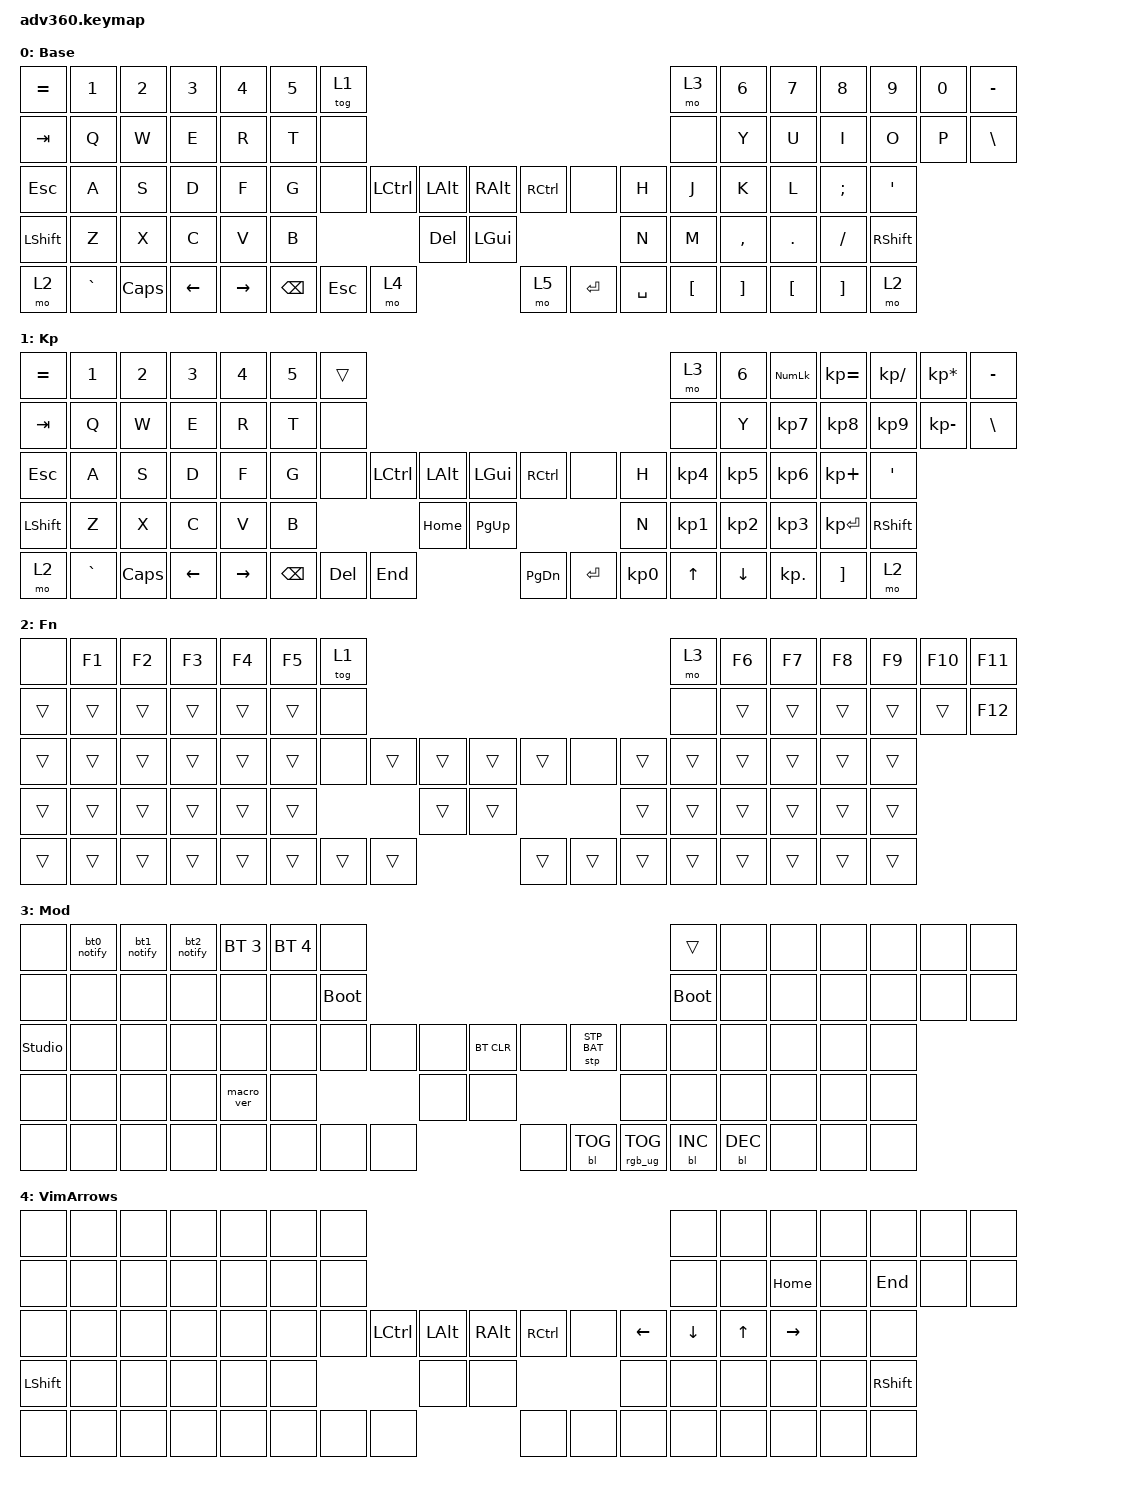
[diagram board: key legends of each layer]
#include <behaviors.dtsi>
#include <dt-bindings/zmk/keys.h>
#include <dt-bindings/zmk/bt.h>
#include <dt-bindings/zmk/rgb.h>
#include <dt-bindings/zmk/stp.h>
#include <dt-bindings/zmk/backlight.h>
#include <dt-bindings/zmk/pointing.h>

/ {
    behaviors {
      #include "macros.dtsi"
      #include "version.dtsi"

      hm: homerow_mods {
          compatible = "zmk,behavior-hold-tap";
          label = "HOMEROW_MODS";
          #binding-cells = <2>;
          tapping-term-ms = <200>;
          quick_tap_ms = <175>;
          flavor = "tap-preferred";
          bindings = <&kp>, <&kp>;
      };

      bt0_notify: bt0_notify {
              compatible = "zmk,behavior-macro";
              #binding-cells = <0>;
              bindings
                  = <&kp F17>
                  , <&bt BT_SEL 0>
                  ;
      };

      bt1_notify: bt1_notify {
              compatible = "zmk,behavior-macro";
              #binding-cells = <0>;
              bindings
                  = <&kp F18>
                  , <&bt BT_SEL 1>
                  ;
      };
      bt2_notify: bt2_notify {
              compatible = "zmk,behavior-macro";
              #binding-cells = <0>;
              bindings
                  = <&kp F19>
                  , <&bt BT_SEL 2>
                  ;
      };
    };

  keymap {
    compatible = "zmk,keymap";

    default_layer {
      display-name = "Base";
      bindings = <
        &kp EQUAL &kp N1    &kp N2   &kp N3   &kp N4     &kp N5 &tog 1                                                                        &mo 3    &kp N6    &kp N7   &kp N8   &kp N9   &kp N0   &kp MINUS
        &kp TAB   &kp Q     &kp W    &kp E    &kp R      &kp T  &none                                                                         &none    &kp Y     &kp U    &kp I    &kp O    &kp P    &kp BSLH
        &kp ESC   &kp A     &kp S    &kp D    &kp F      &kp G  &none           &kp LCTRL &kp LALT &kp RALT  &kp RCTRL           &none &kp H  &kp J    &kp K     &kp L    &kp SEMI &kp SQT
        &kp LSHFT &kp Z     &kp X    &kp C    &kp V      &kp B                            &kp DEL  &kp LGUI                            &kp N  &kp M    &kp COMMA &kp DOT  &kp FSLH &kp RSHFT
        &mo 2     &kp GRAVE &kp CAPS &kp LEFT &kp RIGHT                &kp BSPC &kp ESC   &mo 4    &mo 5     &kp ENTER &kp SPACE              &kp LBKT &kp RBKT  &kp LBKT &kp RBKT &mo 2
      >;
    };
    keypad {
      display-name = "Kp";
      bindings = <
        &kp EQUAL &kp N1    &kp N2   &kp N3   &kp N4     &kp N5 &trans                                                           &mo 3 &kp N6 &kp KP_NUM &kp KP_EQUAL &kp KP_DIVIDE &kp KP_MULTIPLY &kp MINUS
        &kp TAB   &kp Q     &kp W    &kp E    &kp R      &kp T  &none                                                            &none &kp Y  &kp KP_N7  &kp KP_N8    &kp KP_N9     &kp KP_MINUS    &kp BSLH
        &kp ESC   &kp A     &kp S    &kp D    &kp F      &kp G  &none           &kp LCTRL &kp LALT &kp LGUI  &kp RCTRL           &none &kp H  &kp KP_N4  &kp KP_N5    &kp KP_N6     &kp KP_PLUS     &kp SQT
        &kp LSHFT &kp Z     &kp X    &kp C    &kp V      &kp B                            &kp HOME &kp PG_UP                           &kp N  &kp KP_N1  &kp KP_N2    &kp KP_N3     &kp KP_ENTER    &kp RSHFT
        &mo 2     &kp GRAVE &kp CAPS &kp LEFT &kp RIGHT                &kp BSPC &kp DEL   &kp END  &kp PG_DN &kp ENTER &kp KP_N0              &kp UP     &kp DOWN     &kp KP_DOT    &kp RBKT        &mo 2
      >;
    };
    fn {
      display-name = "Fn";
      bindings = <
        &none  &kp F1 &kp F2 &kp F3 &kp F4 &kp F5  &tog 1                                          &mo 3 &kp F6 &kp F7 &kp F8 &kp F9  &kp F10 &kp F11
        &trans &trans &trans &trans &trans &trans  &none                                           &none &trans &trans &trans &trans  &trans  &kp F12
        &trans &trans &trans &trans &trans &trans  &none        &trans &trans &trans &trans        &none &trans &trans &trans &trans  &trans  &trans
        &trans &trans &trans &trans &trans &trans                      &trans &trans                     &trans &trans &trans &trans  &trans  &trans
        &trans &trans &trans &trans &trans               &trans &trans &trans &trans &trans &trans              &trans &trans &trans  &trans  &trans
      >;
    };
    mod {
      display-name = "Mod";
      bindings = <
        &none &bt0_notify   &bt1_notify  &bt2_notify  &bt BT_SEL 3 &bt BT_SEL 4 &none                                                                     &trans                 &none        &none        &none        &none &none &none
        &none &none         &none        &none        &none        &none        &bootloader                                                               &bootloader            &none        &none        &none        &none &none &none
        &studio_unlock &none        &none        &none        &none        &none        &none                   &none &none &bt BT_CLR &none                      &stp STP_BAT &none        &none        &none        &none &none &none
        &none &none         &none        &none        &macro_ver   &none                                      &none &none                                                        &none        &none        &none        &none &none &none
        &none &none         &none        &none        &none                                       &none &none &none &none      &bl BL_TOG &rgb_ug RGB_TOG                                     &bl BL_INC   &bl BL_DEC   &none &none &none
      >;
    };
    vim_arrows {
      display-name = "VimArrows";
      bindings = <
        &none     &none &none &none &none &none  &none                                              &none &none    &none    &none  &none      &none  &none
        &none     &none &none &none &none &none  &none                                              &none &none    &kp HOME &none  &kp END    &none  &none
        &none     &none &none &none &none &none  &none        &kp LCTRL &kp LALT &kp RALT &kp RCTRL &none &kp LEFT &kp DOWN &kp UP &kp RIGHT  &none  &none
        &kp LSHFT &none &none &none &none &none                         &none    &none                    &none    &none    &none  &none      &none  &kp RSHFT
        &none     &none &none &none &none               &none &none     &none    &none    &none     &none          &none    &none  &none      &none  &none
      >;
    };
    extra1 {
      display-name = "Red";    
      status = "reserved";
    };

    extra2 { 
      display-name = "Purple";    
      status = "reserved";
    };

    extra3 { 
      display-name = "Cyan";    
      status = "reserved";
    };

    extra4 { 
      display-name = "Yellow";    
      status = "reserved";
    };
  };
};
